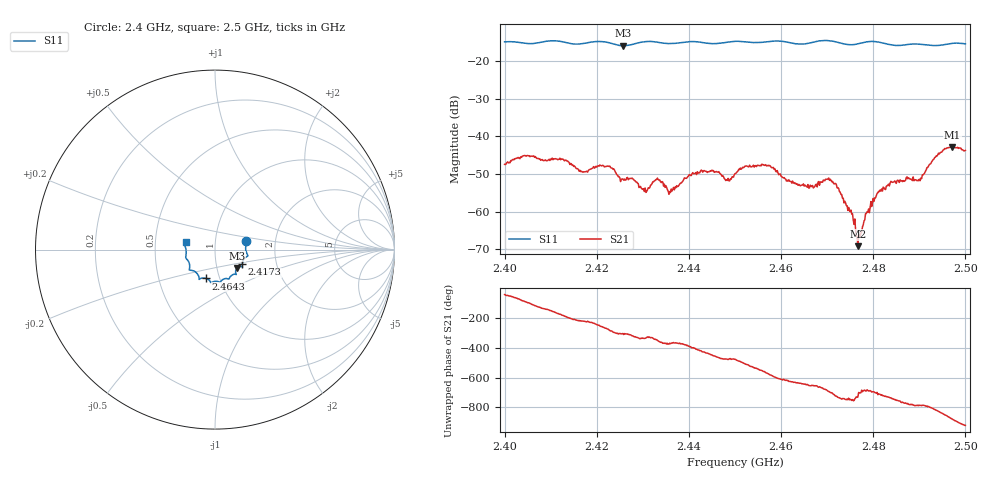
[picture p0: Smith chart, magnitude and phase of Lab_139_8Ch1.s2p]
# Hz S RI R 50
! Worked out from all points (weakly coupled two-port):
!   601 points, 2.4 GHz to 2.5 GHz, reference 50 ohm
!   highest |S21| = -42.77 dB at 2.4972 GHz (marker M1); lowest = -69.1 dB at 2.4767 GHz (marker M2)
!   lowest |S11| = -15.9 dB at 2.4257 GHz (marker M3), VSWR 1.38, Z = 62.4 - j13.1 ohm
!   |S11| at or under -10 dB: start of sweep to end of sweep
!   S12 and S22 are empty: the file has one direction only
!   S11 on the Smith chart (normalised r, x): 2.4 GHz: 1.41, +0.14; 2.4173 GHz: 1.34, -0.23; 2.4643 GHz: 0.86, -0.29; 2.5 GHz: 0.72, +0.06
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2.4e9  0.1734 0.049  0.00295 -0.00306  0 0  0 0
2.404833e9  0.171 0.0155  -0.000677 -0.00553  0 0  0 0
2.416667e9  0.1528 -0.0744  -0.0025 0.00237  0 0  0 0
2.417333e9  0.152 -0.0819  -0.00242 0.00238  0 0  0 0
2.4225e9  0.149 -0.0945  0.000548 0.004  0 0  0 0
2.425667e9  0.1227 -0.1025  0.0016 0.00219  0 0  0 0
2.4305e9  0.1181 -0.1378  0.00192 0.000768  0 0  0 0
2.433333e9  0.1127 -0.1373  0.00266 0.000211  0 0  0 0
2.436e9  0.0942 -0.1429  0.00175 -0.000437  0 0  0 0
2.443e9  0.0696 -0.162  0.00119 -0.00314  0 0  0 0
2.45e9  0.0291 -0.181  -0.00152 -0.00282  0 0  0 0
2.457167e9  -0.0151 -0.1807  -0.00341 0.00236  0 0  0 0
2.464333e9  -0.0497 -0.1608  0.000326 0.00221  0 0  0 0
2.466667e9  -0.076 -0.1594  0.000812 0.002  0 0  0 0
2.4715e9  -0.0879 -0.1601  0.00233 0.000231  0 0  0 0
2.475167e9  -0.1082 -0.1249  0.000932 -0.000497  0 0  0 0
2.476667e9  -0.1231 -0.1168  0.000344 -6.09e-05  0 0  0 0
2.4805e9  -0.1433 -0.1116  0.00145 0.000491  0 0  0 0
2.483333e9  -0.1409 -0.0896  0.00228 -0.000458  0 0  0 0
2.49e9  -0.1631 -0.0406  0.00113 -0.00245  0 0  0 0
2.497167e9  -0.17 0.0278  -0.00672 -0.00277  0 0  0 0
2.5e9  -0.1641 0.0424  -0.00614 0.00226  0 0  0 0
